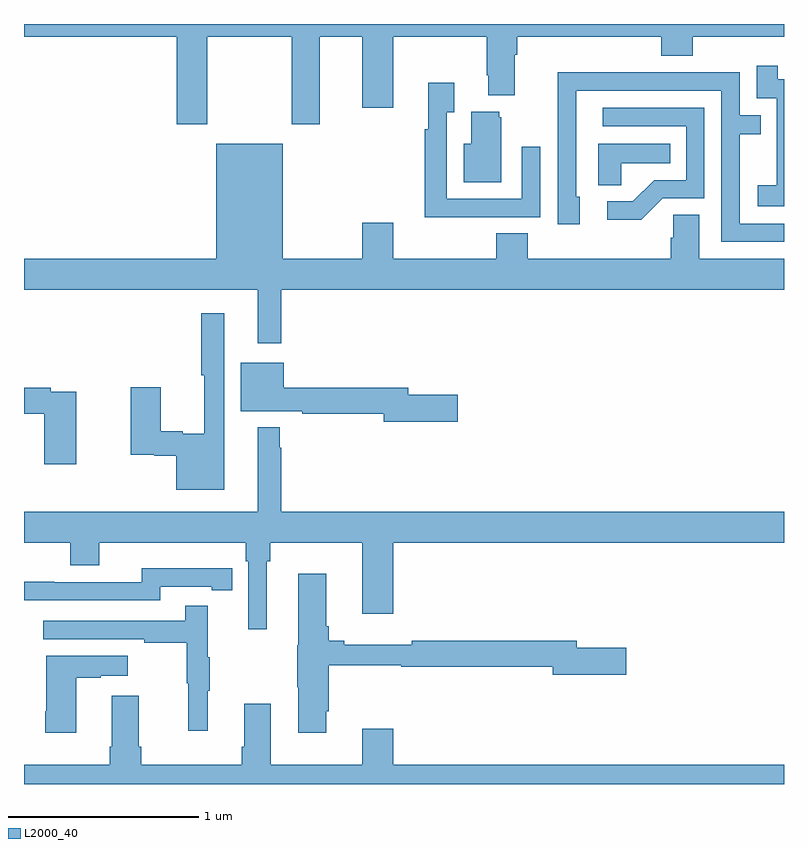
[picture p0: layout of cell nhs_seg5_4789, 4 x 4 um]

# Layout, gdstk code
import gdstk
lib = gdstk.Library(unit=1e-6, precision=1e-09)
def P(c, l, *ps):  # polygons
    for p in ps: c.add(gdstk.Polygon(p, *l))
L2000_40 = (2000, 40)

nhs_seg5_4789 = lib.new_cell('nhs_seg5_4789')
P(nhs_seg5_4789, L2000_40, [(391.965,884.732),(392.41,884.732),(392.41,884.271),(392.557,884.271),(392.557,884.732),(392.78,884.732),(392.78,884.358),(392.944,884.358),(392.944,884.732),(393.436,884.732),(393.436,884.53),(393.443,884.53),(393.443,884.423),(393.583,884.423),(393.583,884.636),(393.596,884.636),(393.596,884.732),(394.355,884.732),(394.355,884.633),(394.52,884.633),(394.52,884.732),(395,884.732),(395,884.799),(391,884.799),(391,884.732),(391.805,884.732),(391.805,884.271),(391.965,884.271)],
  [(395,884.508),(394.966,884.508),(394.966,884.578),(394.857,884.578),(394.857,884.409),(394.962,884.409),(394.962,884.18),(394.961,884.18),(394.961,883.951),(394.863,883.951),(394.863,883.841),(395,883.841)],
  [(395,883.749),(394.767,883.749),(394.767,884.218),(394.877,884.218),(394.877,884.319),(394.767,884.319),(394.767,884.544),(394.271,884.544),(394.271,884.546),(393.808,884.546),(393.808,884.239),(393.81,884.239),(393.81,883.746),(393.925,883.746),(393.925,883.89),(393.906,883.89),(393.906,884.448),(394.671,884.448),(394.671,883.653),(395,883.653)],
  [(393.401,883.782),(393.717,883.782),(393.717,884.152),(393.621,884.152),(393.621,883.878),(393.225,883.878),(393.225,884.335),(393.265,884.335),(393.265,884.491),(393.128,884.491),(393.128,884.246),(393.109,884.246),(393.109,883.781),(393.401,883.781)],
  [(394.362,883.881),(394.581,883.881),(394.581,884.358),(394.047,884.358),(394.047,884.262),(394.485,884.262),(394.485,883.977),(394.316,883.977),(394.205,883.866),(394.071,883.866),(394.071,883.769),(394.249,883.769)],
  [(393.511,884.307),(393.5,884.307),(393.5,884.338),(393.353,884.338),(393.353,884.17),(393.314,884.17),(393.314,883.967),(393.511,883.967)],
  [(392.353,883.4),(395,883.4),(395,883.564),(394.555,883.564),(394.555,883.796),(394.416,883.796),(394.416,883.673),(394.403,883.673),(394.403,883.564),(393.65,883.564),(393.65,883.697),(393.485,883.697),(393.485,883.564),(392.944,883.564),(392.944,883.753),(392.78,883.753),(392.78,883.564),(392.362,883.564),(392.362,884.17),(392.012,884.17),(392.012,883.564),(391,883.564),(391,883.4),(392.231,883.4),(392.231,883.119),(392.353,883.119)],
  [(394.143,884.066),(394.4,884.066),(394.4,884.17),(394.022,884.17),(394.022,883.951),(394.143,883.951)],
  [(392.053,883.276),(391.932,883.276),(391.932,882.951),(391.949,882.951),(391.949,882.643),(391.835,882.643),(391.835,882.656),(391.72,882.656),(391.72,882.886),(391.562,882.886),(391.562,882.533),(391.686,882.533),(391.686,882.526),(391.802,882.526),(391.802,882.347),(392.053,882.347)],
  [(393.283,882.848),(393.022,882.848),(393.022,882.884),(392.368,882.884),(392.368,883.015),(392.141,883.015),(392.141,882.761),(392.464,882.761),(392.464,882.748),(392.894,882.748),(392.894,882.706),(393.283,882.706)],
  [(391.276,882.864),(391.142,882.864),(391.142,882.884),(391,882.884),(391,882.748),(391.106,882.748),(391.106,882.483),(391.276,882.483)],
  [(392.278,881.972),(392.297,881.972),(392.297,882.068),(392.78,882.068),(392.78,881.694),(392.944,881.694),(392.944,882.068),(395,882.068),(395,882.232),(392.353,882.232),(392.353,882.569),(392.346,882.569),(392.346,882.676),(392.231,882.676),(392.231,882.232),(391,882.232),(391,882.068),(391.244,882.068),(391.244,881.951),(391.396,881.951),(391.396,882.068),(392.168,882.068),(392.168,881.972),(392.181,881.972),(392.181,881.613),(392.278,881.613)],
  [(391.716,881.838),(391.988,881.838),(391.988,881.818),(392.096,881.818),(392.096,881.934),(391.988,881.934),(391.988,881.935),(391.62,881.935),(391.62,881.862),(391.16,881.862),(391.16,881.864),(391,881.864),(391,881.766),(391.716,881.766)],
  [(392.59,881.182),(392.603,881.182),(392.603,881.424),(392.986,881.424),(392.986,881.416),(393.782,881.416),(393.782,881.374),(394.171,881.374),(394.171,881.516),(393.91,881.516),(393.91,881.552),(393.04,881.552),(393.04,881.533),(392.686,881.533),(392.686,881.552),(392.603,881.552),(392.603,881.629),(392.59,881.629),(392.59,881.905),(392.444,881.905),(392.444,881.529),(392.437,881.529),(392.437,881.308),(392.444,881.308),(392.444,881.07),(392.59,881.07)],
  [(391.967,881.291),(391.978,881.291),(391.978,881.465),(391.967,881.465),(391.967,881.737),(391.849,881.737),(391.849,881.658),(391.101,881.658),(391.101,881.562),(391.633,881.562),(391.633,881.542),(391.857,881.542),(391.857,881.328),(391.864,881.328),(391.864,881.079),(391.967,881.079)],
  [(391.276,881.359),(391.403,881.359),(391.403,881.369),(391.546,881.369),(391.546,881.473),(391.118,881.473),(391.118,881.182),(391.111,881.182),(391.111,881.07),(391.276,881.07)],
  [(395,880.9),(392.944,880.9),(392.944,881.089),(392.78,881.089),(392.78,880.9),(392.299,880.9),(392.299,881.221),(392.159,881.221),(392.159,880.996),(392.147,880.996),(392.147,880.9),(391.616,880.9),(391.616,880.996),(391.603,880.996),(391.603,881.263),(391.463,881.263),(391.463,880.996),(391.451,880.996),(391.451,880.9),(391,880.9),(391,880.799),(395,880.799)])

lib.write_gds('nhs_seg5_4789.gds')
